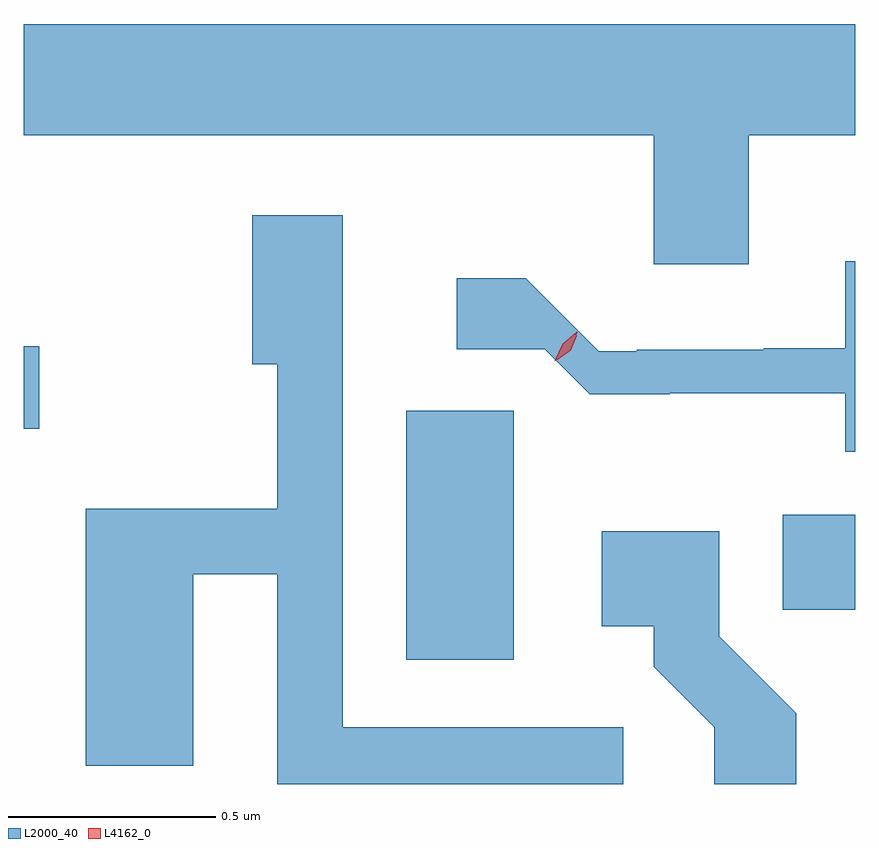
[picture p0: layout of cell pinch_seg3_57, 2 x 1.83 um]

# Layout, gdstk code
import gdstk
lib = gdstk.Library(unit=1e-6, precision=1e-09)
def R(c, l, rs):  # rectangles x0, y0, x1, y1
    for r in rs: c.add(gdstk.rectangle(r[:2], r[2:], *l))
def P(c, l, *ps):  # polygons
    for p in ps: c.add(gdstk.Polygon(p, *l))
L2000_40 = (2000, 40)
L4162_0 = (4162, 0)

pinch_seg3_57 = lib.new_cell('pinch_seg3_57')
R(pinch_seg3_57, L2000_40, [(1101.816,1144.736,1102.074,1145.334), (1102.721,1144.856,1102.896,1145.084), (1100.896,1145.291,1100.934,1145.489)])
P(pinch_seg3_57, L2000_40, [(1102.639,1145.996),(1102.896,1145.996),(1102.896,1146.264),(1100.896,1146.264),(1100.896,1145.996),(1102.411,1145.996),(1102.411,1145.686),(1102.639,1145.686)],
  [(1102.338,1144.574),(1101.664,1144.574),(1101.664,1145.804),(1101.446,1145.804),(1101.446,1145.446),(1101.506,1145.446),(1101.506,1145.099),(1101.046,1145.099),(1101.046,1144.481),(1101.304,1144.481),(1101.304,1144.941),(1101.506,1144.941),(1101.506,1144.437),(1102.338,1144.437)],
  [(1102.896,1145.694),(1102.871,1145.694),(1102.871,1145.484),(1102.675,1145.484),(1102.675,1145.481),(1102.37,1145.481),(1102.37,1145.477),(1102.279,1145.477),(1102.103,1145.653),(1101.938,1145.653),(1101.938,1145.482),(1102.149,1145.482),(1102.257,1145.374),(1102.45,1145.374),(1102.45,1145.376),(1102.871,1145.376),(1102.871,1145.236),(1102.896,1145.236)],
  [(1102.754,1144.607),(1102.569,1144.792),(1102.569,1145.044),(1102.286,1145.044),(1102.286,1144.816),(1102.411,1144.816),(1102.411,1144.719),(1102.556,1144.574),(1102.556,1144.437),(1102.754,1144.437)])
P(pinch_seg3_57, L4162_0, [(1102.173,1145.454),(1102.173,1145.454),(1102.192,1145.495),(1102.226,1145.524),(1102.227,1145.524),(1102.227,1145.523),(1102.208,1145.483),(1102.174,1145.454)],
  [(1102.179,1145.457),(1102.179,1145.458),(1102.195,1145.493),(1102.226,1145.516),(1102.226,1145.516),(1102.226,1145.515),(1102.211,1145.48),(1102.18,1145.457)])

lib.write_gds('pinch_seg3_57.gds')
